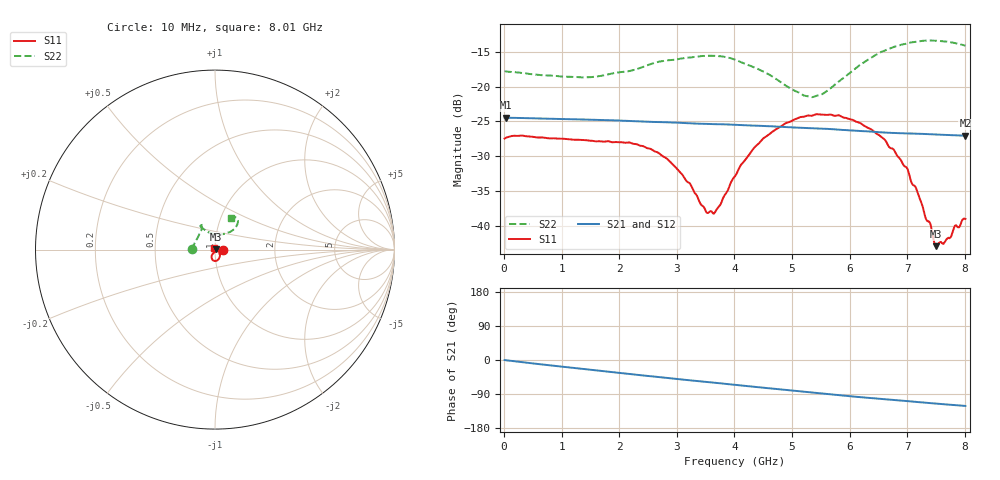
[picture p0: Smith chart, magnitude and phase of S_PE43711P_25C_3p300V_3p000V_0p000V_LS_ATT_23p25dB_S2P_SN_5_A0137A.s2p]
! Device ID: PE43711P
! File Path: z:\PE43711P\CHAR_NOM_04282014\AMB\3p300\LS_ATT_23p25dB\PE43711P_AMB_3p300V_3p000V_0p000V_LS_ATT_23p25dB_S2P_SN_5_A0137A.s2p
! Serial: 5
! Lot: A0137A
! Temp: 25C
! VDD: 3.300
! VSS: 0.000
! Control_Hi: 3.000
! Control_Lo: 0.000
! Attenuation Step: 23.25dB
! Port 1: RF1
! Port 2: RF2
! ThroughPath:1-2
! IDD: 0.0001278912
! ISS: -1.694e-007
#  Hz  S  RI  R  50
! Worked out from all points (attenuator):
!   801 points, 10 MHz to 8.01 GHz, reference 50 ohm
!   highest |S21| = -24.47 dB at 30 MHz (marker M1); lowest = -27.0 dB at 8.01 GHz (marker M2)
!   lowest |S11| = -42.8 dB at 7.5 GHz (marker M3), VSWR 1.01, Z = 50.6 + j0.429 ohm
!   |S11| at or under -10 dB: start of sweep to end of sweep
!   |S22| runs from -21.5 to -13.4 dB; largest |S21 - S12| = 0.00017
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1e7  0.0425 0.000301  0.0598 -0.000246  0.0599 -0.000281  -0.1289 0.000974
3e7  0.043 0.000357  0.0598 -0.000584  0.0598 -0.000583  -0.1282 0.00209
1.35e9  0.0403 -0.00999  0.0534 -0.023  0.0535 -0.023  -0.1012 0.0572
2.18e9  0.0384 -0.0106  0.0453 -0.0342  0.0453 -0.0342  -0.079 0.1022
2.68e9  0.0326 -0.00809  0.0395 -0.0393  0.0395 -0.0393  -0.0747 0.1305
3.06e9  0.0232 -0.00729  0.0346 -0.0428  0.0347 -0.0428  -0.0749 0.1395
3.54e9  0.00625 -0.0108  0.0284 -0.0459  0.0284 -0.0459  -0.0798 0.1457
3.68e9  0.001 -0.0129  0.0266 -0.0467  0.0266 -0.0468  -0.0814 0.1443
4.01e9  -0.00996 -0.0205  0.022 -0.0485  0.022 -0.0485  -0.0816 0.1327
4.32e9  -0.0175 -0.0309  0.0177 -0.0495  0.0177 -0.0495  -0.07 0.1193
4.52e9  -0.0189 -0.0387  0.0149 -0.0501  0.0149 -0.0501  -0.0598 0.112
4.9e9  -0.0166 -0.0524  0.00959 -0.0504  0.00956 -0.0504  -0.0339 0.0951
5.35e9  -0.00583 -0.0616  0.00365 -0.0502  0.00366 -0.0503  0.00917 0.0835
5.56e9  0.00183 -0.0628  0.000876 -0.0499  0.000863 -0.0499  0.0332 0.0838
6.05e9  0.0188 -0.0547  -0.00523 -0.0482  -0.00528 -0.0482  0.0843 0.0987
6.4e9  0.0259 -0.0411  -0.00914 -0.0467  -0.00915 -0.0467  0.1118 0.1193
6.68e9  0.0261 -0.0265  -0.0117 -0.0453  -0.0117 -0.0453  0.1236 0.1393
7e9  0.0227 -0.0126  -0.0146 -0.0438  -0.0146 -0.0438  0.1281 0.1586
7.18e9  0.0168 -0.00481  -0.0163 -0.043  -0.0163 -0.043  0.1257 0.1687
7.5e9  0.00583 0.00424  -0.0192 -0.0411  -0.0192 -0.0412  0.1134 0.18
7.65e9  0.000379 0.00768  -0.0204 -0.0402  -0.0204 -0.0402  0.1063 0.182
8.01e9  -0.00797 0.00799  -0.023 -0.038  -0.0232 -0.038  0.0896 0.1743
